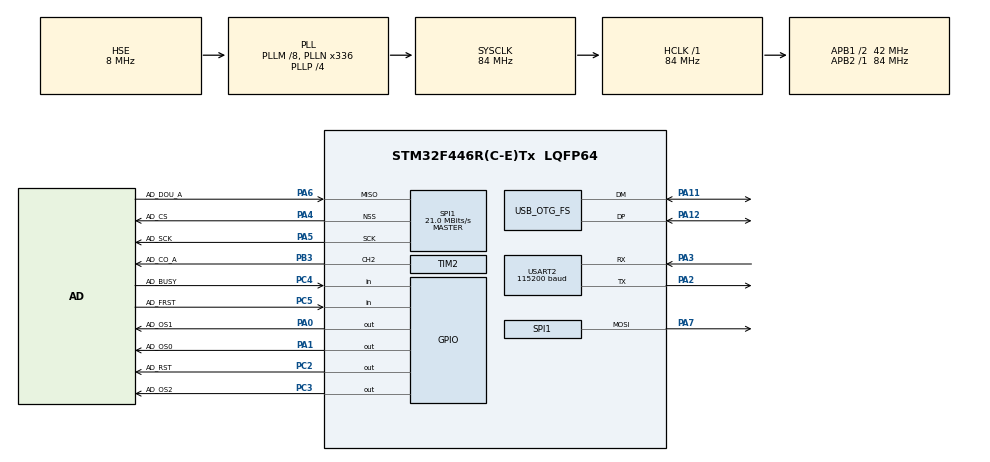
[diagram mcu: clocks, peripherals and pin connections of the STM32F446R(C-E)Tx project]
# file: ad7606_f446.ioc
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Dma.Request0=SPI1_RX
Dma.SPI1_RX.0.Direction=DMA_PERIPH_TO_MEMORY
Dma.SPI1_RX.0.FIFOMode=DMA_FIFOMODE_DISABLE
Dma.SPI1_RX.0.Instance=DMA2_Stream0
Dma.SPI1_RX.0.MemDataAlignment=DMA_MDATAALIGN_HALFWORD
Dma.SPI1_RX.0.MemInc=DMA_MINC_ENABLE
Dma.SPI1_RX.0.Mode=DMA_NORMAL
Dma.SPI1_RX.0.PeriphDataAlignment=DMA_PDATAALIGN_HALFWORD
Dma.SPI1_RX.0.PeriphInc=DMA_PINC_DISABLE
Dma.SPI1_RX.0.Priority=DMA_PRIORITY_LOW
Mcu.Family=STM32F4
Mcu.Name=STM32F446R(C-E)Tx
Mcu.Package=LQFP64
NVIC.DMA2_Stream0_IRQn=true\:0\:0\:false\:false\:true\:false\:true\:true
NVIC.OTG_FS_IRQn=true\:0\:0\:false\:false\:true\:false\:true\:true
NVIC.PriorityGroup=NVIC_PRIORITYGROUP_4
NVIC.USART2_IRQn=true\:0\:0\:false\:false\:true\:true\:true\:true
PA0-WKUP.GPIO_Label=AD_OS1
PA0-WKUP.GPIO_PuPd=GPIO_NOPULL
PA0-WKUP.GPIO_Speed=GPIO_SPEED_FREQ_LOW
PA0-WKUP.PinState=GPIO_PIN_RESET
PA0-WKUP.Signal=GPIO_Output
PA1.GPIO_Label=AD_OS0
PA1.GPIO_Speed=GPIO_SPEED_FREQ_LOW
PA1.PinState=GPIO_PIN_RESET
PA1.Signal=GPIO_Output
PA11.Mode=Device_Only
PA11.Signal=USB_OTG_FS_DM
PA12.Mode=Device_Only
PA12.Signal=USB_OTG_FS_DP
PA2.Mode=Asynchronous
PA2.Signal=USART2_TX
PA3.Mode=Asynchronous
PA3.Signal=USART2_RX
PA4.GPIO_Label=AD_CS
PA4.GPIO_Speed=GPIO_SPEED_FREQ_MEDIUM
PA4.Mode=NSS_Signal_Hard_Output
PA4.Signal=SPI1_NSS
PA5.GPIO_Label=AD_SCK
PA5.GPIO_Speed=GPIO_SPEED_FREQ_MEDIUM
PA5.Mode=Full_Duplex_Master
PA5.Signal=SPI1_SCK
PA6.GPIO_Label=AD_DOU_A
PA6.GPIO_Speed=GPIO_SPEED_FREQ_MEDIUM
PA6.Mode=Full_Duplex_Master
PA6.Signal=SPI1_MISO
PA7.Mode=Full_Duplex_Master
PA7.Signal=SPI1_MOSI
PB3.GPIO_Label=AD_CO_A
PB3.GPIO_PuPd=GPIO_NOPULL
PB3.GPIO_Speed=GPIO_SPEED_FREQ_MEDIUM
PB3.Signal=S_TIM2_CH2
PC2.GPIO_Label=AD_RST
PC2.GPIO_Speed=GPIO_SPEED_FREQ_LOW
PC2.PinState=GPIO_PIN_RESET
PC2.Signal=GPIO_Output
PC3.GPIO_Label=AD_OS2
PC3.GPIO_Speed=GPIO_SPEED_FREQ_LOW
PC3.PinState=GPIO_PIN_RESET
PC3.Signal=GPIO_Output
PC4.GPIO_Label=AD_BUSY
PC4.Signal=GPIO_Input
PC5.GPIO_Label=AD_FRST
PC5.Signal=GPIO_Input
PH0-OSC_IN.Mode=HSE-External-Oscillator
PH0-OSC_IN.Signal=RCC_OSC_IN
PH1-OSC_OUT.Mode=HSE-External-Oscillator
PH1-OSC_OUT.Signal=RCC_OSC_OUT
ProjectManager.HeapSize=0x200
ProjectManager.StackSize=0x400
ProjectManager.TargetToolchain=STM32CubeIDE
RCC.AHBFreq_Value=84000000
RCC.APB1CLKDivider=RCC_HCLK_DIV2
RCC.APB1Freq_Value=42000000
RCC.APB1TimFreq_Value=84000000
RCC.APB2Freq_Value=84000000
RCC.APB2TimFreq_Value=84000000
RCC.CortexFreq_Value=84000000
RCC.HCLKFreq_Value=84000000
RCC.HSE_VALUE=8000000
RCC.PLLM=8
RCC.PLLN=336
RCC.PLLP=RCC_PLLP_DIV4
RCC.PLLQ=7
RCC.PLLSourceVirtual=RCC_PLLSOURCE_HSE
RCC.SYSCLKFreq_VALUE=84000000
RCC.SYSCLKSource=RCC_SYSCLKSOURCE_PLLCLK
RCC.USBFreq_Value=48000000
RCC.VCOOutputFreq_Value=336000000
SH.S_TIM2_CH2.0=TIM2_CH2,PWM Generation2 CH2
SPI1.BaudRatePrescaler=SPI_BAUDRATEPRESCALER_4
SPI1.CLKPhase=SPI_PHASE_2EDGE
SPI1.CLKPolarity=SPI_POLARITY_HIGH
SPI1.CalculateBaudRate=21.0 MBits/s
SPI1.DataSize=SPI_DATASIZE_16BIT
SPI1.Direction=SPI_DIRECTION_2LINES
SPI1.FirstBit=SPI_FIRSTBIT_MSB
SPI1.Mode=SPI_MODE_MASTER
SPI1.VirtualNSS=VM_NSSHARD
SPI1.VirtualType=VM_MASTER
TIM2.Channel-PWM\ Generation2\ CH2=TIM_CHANNEL_2
TIM2.OCPolarity_2=TIM_OCPOLARITY_HIGH
TIM2.Period=99
TIM2.Prescaler=840
TIM2.Pulse-PWM\ Generation2\ CH2=97
USART2.BaudRate=115200
USART2.VirtualMode=VM_ASYNC
USB_DEVICE.CLASS_NAME_FS=CDC
USB_DEVICE.VirtualMode-CDC_FS=Cdc
USB_DEVICE.VirtualModeFS=Cdc_FS
USB_OTG_FS.VirtualMode=Device_Only
VP_TIM2_VS_ClockSourceINT.Mode=Internal
VP_USB_DEVICE_VS_USB_DEVICE_CDC_FS.Mode=CDC_FS
board=custom

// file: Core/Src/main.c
/* USER CODE BEGIN Header */
/**
  ******************************************************************************
  * @file           : main.c
  * @brief          : Main program body
  ******************************************************************************
  * @attention
  *
  * Copyright (c) 2022 STMicroelectronics.
  * All rights reserved.
  *
  * This software is licensed under terms that can be found in the LICENSE file
  * in the root directory of this software component.
  * If no LICENSE file comes with this software, it is provided AS-IS.
  *
  ******************************************************************************
  */
/* USER CODE END Header */
#include "main.h"
#include "usb_device.h"

/* USER CODE BEGIN Includes */
#include "usbd_cdc_if.h"
#include "stdio.h"
//#include "string.h"

/* USER CODE END Includes */

SPI_HandleTypeDef hspi1;
DMA_HandleTypeDef hdma_spi1_rx;

TIM_HandleTypeDef htim2;

UART_HandleTypeDef huart2;

/* USER CODE BEGIN PV */
/*uint16_t data_receive = 1;

uint8_t data[4];*/
int16_t bufferi[8] = {1};
float bufferf [8];
char tx_data[6] = {0,0,0,0,0};
char c;
uint8_t dummy = 0b00000000;
uint8_t data[] = "Hello World from USB CDC";

/* USER CODE END PV */

void SystemClock_Config(void);
static void MX_GPIO_Init(void);
static void MX_DMA_Init(void);
static void MX_TIM2_Init(void);
static void MX_SPI1_Init(void);
static void MX_USART2_UART_Init(void);

/* USER CODE BEGIN 0 */

/*void AD7606_OS_SET(void)
{
	HAL_GPIO_WritePin(AD_OS0_GPIO_Port, AD_OS0_Pin, GPIO_PIN_RESET);
	HAL_GPIO_WritePin(AD_OS1_GPIO_Port, AD_OS1_Pin, GPIO_PIN_RESET);
	HAL_GPIO_WritePin(AD_OS2_GPIO_Port, AD_OS2_Pin, GPIO_PIN_RESET);
}*/

void AD7606_RST(void)
{

	HAL_GPIO_WritePin(AD_RST_GPIO_Port, AD_RST_Pin, GPIO_PIN_SET);
	HAL_Delay(1);
	HAL_GPIO_WritePin(AD_RST_GPIO_Port, AD_RST_Pin, GPIO_PIN_RESET);
}

/*void AD7606_Delay (uint32_t Delay)
{
	uint32_t i;
	for (i = 0; i < Delay; i++)
	{
		__NOP();
	}
	return;
}*/
void AD7606_StartReadBytes(SPI_HandleTypeDef *hspi, int16_t *pDst, uint16_t Length)
{
	while (HAL_GPIO_ReadPin(AD_BUSY_GPIO_Port, AD_BUSY_Pin) == GPIO_PIN_SET);
	HAL_Delay(0.000015);
//	HAL_SPI_Receive_DMA(hspi, (uint8_t*)pDst, Length);

	HAL_SPI_Receive(hspi, (uint8_t*)pDst, Length, 10);
	//HAL_SPI_Receive(hspi, pDst, Length, 10);
//	HAL_SPI_TransmitReceive_DMA(hspi, &dummy, (uint8_t*)pDst, Length);
	return;

}

void AD7606_ConvertToVoltage (uint16_t Length, int16_t *pSrc, float *pDst)
{
	uint16_t i;
	for (i = 0; i < Length; i++)
	{
		//pDst[i] = ((float)pSrc[i] * 5.5 ) / 32767.0;
		//pDst[i] = ((float)pSrc[i] * 10 * (2.5/4.5)) / 32768.0;
		//pDst[i] = (pSrc[i] * 0.00016954);
		pDst[i] = ((float)pSrc[i] * 10) / 32768.0;
	}
	return;
}

void AD7606_CO_START(void)
{
	HAL_TIM_PWM_Start(&htim2, TIM_CHANNEL_2); //Start AD7606 Conversion
	//HAL_TIM_PWM_Start(&htim2, TIM_CHANNEL_1);
}

void AD7606_CO_STOP(void)
{
	HAL_TIM_PWM_Stop(&htim2, TIM_CHANNEL_2); //Stop conversion
	//HAL_TIM_PWM_Stop(&htim2, TIM_CHANNEL_1);
	//HAL_GPIO_WritePin(AD_CS_GPIO_Port, AD_CS_Pin, 1);
}

/* USER CODE END 0 */

int main(void)
{

  /* MCU Configuration--------------------------------------------------------*/

  /* Reset of all peripherals, Initializes the Flash interface and the Systick. */
  HAL_Init();

  /* Configure the system clock */
  SystemClock_Config();

  /* Initialize all configured peripherals */
  MX_GPIO_Init();
  MX_DMA_Init();
  MX_TIM2_Init();
  MX_SPI1_Init();
  MX_USB_DEVICE_Init();
  MX_USART2_UART_Init();
  /* USER CODE BEGIN 2 */

  //follow spi hal procedure
  HAL_SPI_DeInit(&hspi1);
  HAL_SPI_Init(&hspi1);

  //AD7606_OS_SET();
  AD7606_RST();
  AD7606_CO_START();

  /* USER CODE END 2 */

  /* Infinite loop */
  while (1)
  {

    /* USER CODE BEGIN 3 */
	  AD7606_StartReadBytes(&hspi1, bufferi, 8);

	  AD7606_ConvertToVoltage(8, bufferi, bufferf);

//	  uint8_t a[1] = {59};
//	  HAL_UART_Transmit(&huart2, (uint8_t*)(itoa((int)bufferi[1], tx_data, 10)), 5, 10);

//	  HAL_UART_Transmit(&huart2, a, 1, 1);

  }
  /* USER CODE END 3 */
}

void SystemClock_Config(void)
{
  RCC_OscInitTypeDef RCC_OscInitStruct = {0};
  RCC_ClkInitTypeDef RCC_ClkInitStruct = {0};

  /** Configure the main internal regulator output voltage
  */
  __HAL_RCC_PWR_CLK_ENABLE();
  __HAL_PWR_VOLTAGESCALING_CONFIG(PWR_REGULATOR_VOLTAGE_SCALE3);

  /** Initializes the RCC Oscillators according to the specified parameters
  * in the RCC_OscInitTypeDef structure.
  */
  RCC_OscInitStruct.OscillatorType = RCC_OSCILLATORTYPE_HSE;
  RCC_OscInitStruct.HSEState = RCC_HSE_ON;
  RCC_OscInitStruct.PLL.PLLState = RCC_PLL_ON;
  RCC_OscInitStruct.PLL.PLLSource = RCC_PLLSOURCE_HSE;
  RCC_OscInitStruct.PLL.PLLM = 8;
  RCC_OscInitStruct.PLL.PLLN = 336;
  RCC_OscInitStruct.PLL.PLLP = RCC_PLLP_DIV4;
  RCC_OscInitStruct.PLL.PLLQ = 7;
  RCC_OscInitStruct.PLL.PLLR = 2;
  if (HAL_RCC_OscConfig(&RCC_OscInitStruct) != HAL_OK)
  {
    Error_Handler();
  }

  /** Initializes the CPU, AHB and APB buses clocks
  */
  RCC_ClkInitStruct.ClockType = RCC_CLOCKTYPE_HCLK|RCC_CLOCKTYPE_SYSCLK
                              |RCC_CLOCKTYPE_PCLK1|RCC_CLOCKTYPE_PCLK2;
  RCC_ClkInitStruct.SYSCLKSource = RCC_SYSCLKSOURCE_PLLCLK;
  RCC_ClkInitStruct.AHBCLKDivider = RCC_SYSCLK_DIV1;
  RCC_ClkInitStruct.APB1CLKDivider = RCC_HCLK_DIV2;
  RCC_ClkInitStruct.APB2CLKDivider = RCC_HCLK_DIV1;

  if (HAL_RCC_ClockConfig(&RCC_ClkInitStruct, FLASH_LATENCY_2) != HAL_OK)
  {
    Error_Handler();
  }
}

static void MX_SPI1_Init(void)
{

  /* SPI1 parameter configuration*/
  hspi1.Instance = SPI1;
  hspi1.Init.Mode = SPI_MODE_MASTER;
  hspi1.Init.Direction = SPI_DIRECTION_2LINES;
  hspi1.Init.DataSize = SPI_DATASIZE_16BIT;
  hspi1.Init.CLKPolarity = SPI_POLARITY_HIGH;
  hspi1.Init.CLKPhase = SPI_PHASE_2EDGE;
  hspi1.Init.NSS = SPI_NSS_HARD_OUTPUT;
  hspi1.Init.BaudRatePrescaler = SPI_BAUDRATEPRESCALER_4;
  hspi1.Init.FirstBit = SPI_FIRSTBIT_MSB;
  hspi1.Init.TIMode = SPI_TIMODE_DISABLE;
  hspi1.Init.CRCCalculation = SPI_CRCCALCULATION_DISABLE;
  hspi1.Init.CRCPolynomial = 10;
  if (HAL_SPI_Init(&hspi1) != HAL_OK)
  {
    Error_Handler();
  }

}

static void MX_TIM2_Init(void)
{

  TIM_ClockConfigTypeDef sClockSourceConfig = {0};
  TIM_MasterConfigTypeDef sMasterConfig = {0};
  TIM_OC_InitTypeDef sConfigOC = {0};

  htim2.Instance = TIM2;
  htim2.Init.Prescaler = 840;
  htim2.Init.CounterMode = TIM_COUNTERMODE_UP;
  htim2.Init.Period = 99;
  htim2.Init.ClockDivision = TIM_CLOCKDIVISION_DIV1;
  htim2.Init.AutoReloadPreload = TIM_AUTORELOAD_PRELOAD_DISABLE;
  if (HAL_TIM_Base_Init(&htim2) != HAL_OK)
  {
    Error_Handler();
  }
  sClockSourceConfig.ClockSource = TIM_CLOCKSOURCE_INTERNAL;
  if (HAL_TIM_ConfigClockSource(&htim2, &sClockSourceConfig) != HAL_OK)
  {
    Error_Handler();
  }
  if (HAL_TIM_PWM_Init(&htim2) != HAL_OK)
  {
    Error_Handler();
  }
  sMasterConfig.MasterOutputTrigger = TIM_TRGO_RESET;
  sMasterConfig.MasterSlaveMode = TIM_MASTERSLAVEMODE_DISABLE;
  if (HAL_TIMEx_MasterConfigSynchronization(&htim2, &sMasterConfig) != HAL_OK)
  {
    Error_Handler();
  }
  sConfigOC.OCMode = TIM_OCMODE_PWM1;
  sConfigOC.Pulse = 97;
  sConfigOC.OCPolarity = TIM_OCPOLARITY_HIGH;
  sConfigOC.OCFastMode = TIM_OCFAST_DISABLE;
  if (HAL_TIM_PWM_ConfigChannel(&htim2, &sConfigOC, TIM_CHANNEL_2) != HAL_OK)
  {
    Error_Handler();
  }
  HAL_TIM_MspPostInit(&htim2);

}

static void MX_USART2_UART_Init(void)
{

  huart2.Instance = USART2;
  huart2.Init.BaudRate = 115200;
  huart2.Init.WordLength = UART_WORDLENGTH_8B;
  huart2.Init.StopBits = UART_STOPBITS_1;
  huart2.Init.Parity = UART_PARITY_NONE;
  huart2.Init.Mode = UART_MODE_TX_RX;
  huart2.Init.HwFlowCtl = UART_HWCONTROL_NONE;
  huart2.Init.OverSampling = UART_OVERSAMPLING_16;
  if (HAL_UART_Init(&huart2) != HAL_OK)
  {
    Error_Handler();
  }

}

static void MX_DMA_Init(void)
{

  /* DMA controller clock enable */
  __HAL_RCC_DMA2_CLK_ENABLE();

  /* DMA interrupt init */
  /* DMA2_Stream0_IRQn interrupt configuration */
  HAL_NVIC_SetPriority(DMA2_Stream0_IRQn, 0, 0);
  HAL_NVIC_EnableIRQ(DMA2_Stream0_IRQn);

}

static void MX_GPIO_Init(void)
{
  GPIO_InitTypeDef GPIO_InitStruct = {0};

  /* GPIO Ports Clock Enable */
  __HAL_RCC_GPIOH_CLK_ENABLE();
  __HAL_RCC_GPIOC_CLK_ENABLE();
  __HAL_RCC_GPIOA_CLK_ENABLE();
  __HAL_RCC_GPIOB_CLK_ENABLE();

  /*Configure GPIO pin Output Level */
  HAL_GPIO_WritePin(GPIOC, AD_RST_Pin|AD_OS2_Pin, GPIO_PIN_RESET);

  /*Configure GPIO pin Output Level */
  HAL_GPIO_WritePin(GPIOA, AD_OS1_Pin|AD_OS0_Pin, GPIO_PIN_RESET);

  /*Configure GPIO pins : AD_RST_Pin AD_OS2_Pin */
  GPIO_InitStruct.Pin = AD_RST_Pin|AD_OS2_Pin;
  GPIO_InitStruct.Mode = GPIO_MODE_OUTPUT_PP;
  GPIO_InitStruct.Pull = GPIO_NOPULL;
  GPIO_InitStruct.Speed = GPIO_SPEED_FREQ_LOW;
  HAL_GPIO_Init(GPIOC, &GPIO_InitStruct);

  /*Configure GPIO pins : AD_OS1_Pin AD_OS0_Pin */
  GPIO_InitStruct.Pin = AD_OS1_Pin|AD_OS0_Pin;
  GPIO_InitStruct.Mode = GPIO_MODE_OUTPUT_PP;
  GPIO_InitStruct.Pull = GPIO_NOPULL;
  GPIO_InitStruct.Speed = GPIO_SPEED_FREQ_LOW;
  HAL_GPIO_Init(GPIOA, &GPIO_InitStruct);

  /*Configure GPIO pins : AD_BUSY_Pin AD_FRST_Pin */
  GPIO_InitStruct.Pin = AD_BUSY_Pin|AD_FRST_Pin;
  GPIO_InitStruct.Mode = GPIO_MODE_INPUT;
  GPIO_InitStruct.Pull = GPIO_NOPULL;
  HAL_GPIO_Init(GPIOC, &GPIO_InitStruct);

}

void Error_Handler(void)
{
  __disable_irq();
  while (1)
  {
  }
}
